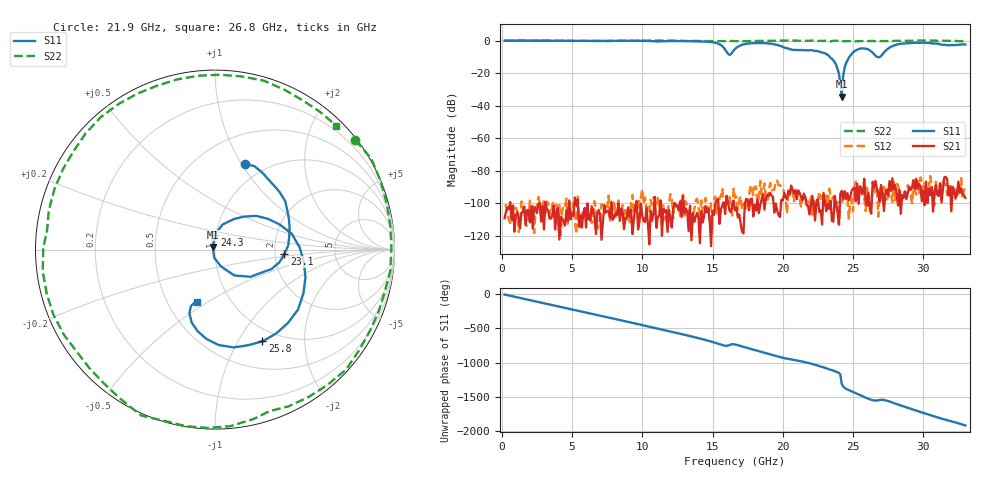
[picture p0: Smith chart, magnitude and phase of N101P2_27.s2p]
# GHZ S RI R 50
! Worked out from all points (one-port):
!   329 points, 200 MHz to 33 GHz, reference 50 ohm
!   lowest |S11| = -34.5 dB at 24.2 GHz (marker M1), VSWR 1.04, Z = 48.8 + j1.43 ohm
!   |S11| at or under -10 dB: 23.34 GHz to 24.74 GHz (1.402 GHz wide, 5.83 % of centre); 26.72 GHz to 26.92 GHz (195.5 MHz wide, 0.729 % of centre)
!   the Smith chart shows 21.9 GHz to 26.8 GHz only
!   S11 on the Smith chart (normalised r, x): 21.9 GHz: 0.80, +1.03; 23.1 GHz: 2.26, -0.13; 24.3 GHz: 0.98, +0.16; 25.8 GHz: 0.83, -1.27; 26.8 GHz: 0.70, -0.45
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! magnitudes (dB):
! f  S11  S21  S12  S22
! 200 MHz  0.0  -109.3  -101.7  0.0
! 5.7 GHz  -0.1  -115.0  -104.9  -0.2
! 11.2 GHz  -0.4  -107.7  -103.4  0.0
! 15.1 GHz  -1.1  -107.2  -97.7  -0.3
! 15.6 GHz  -2.7  -103.6  -95.2  -0.3
! 16.2 GHz  -8.7  -104.3  -96.0  -0.3
! 16.6 GHz  -5.2  -104.4  -96.6  -0.3
! 18.4 GHz  -1.5  -101.1  -86.4  -0.2
! 21.9 GHz  -5.9  -107.0  -106.2  -0.1
! 22.1 GHz  -6.0  -95.4  -107.1  0.0
! 23.1 GHz  -8.2  -104.9  -95.2  -0.2
! 23.8 GHz  -14.8  -100.7  -102.0  0.0
! 24 GHz  -20.2  -112.9  -113.5  0.1
! 24.2 GHz  -34.5  -92.4  -98.2  -0.3
! 24.3 GHz  -21.8  -97.7  -99.0  -0.3
! 24.5 GHz  -14.0  -97.4  -95.1  -0.3
! 24.8 GHz  -9.3  -96.1  -99.0  -0.3
! 25.8 GHz  -4.8  -84.9  -96.3  -0.3
! 26.8 GHz  -10.2  -94.0  -108.3  -0.3
! 27.6 GHz  -4.3  -86.4  -93.9  -0.2
! 29.4 GHz  -1.3  -91.3  -91.8  -0.1
! 33 GHz  -2.4  -96.7  -91.6  -0.3
